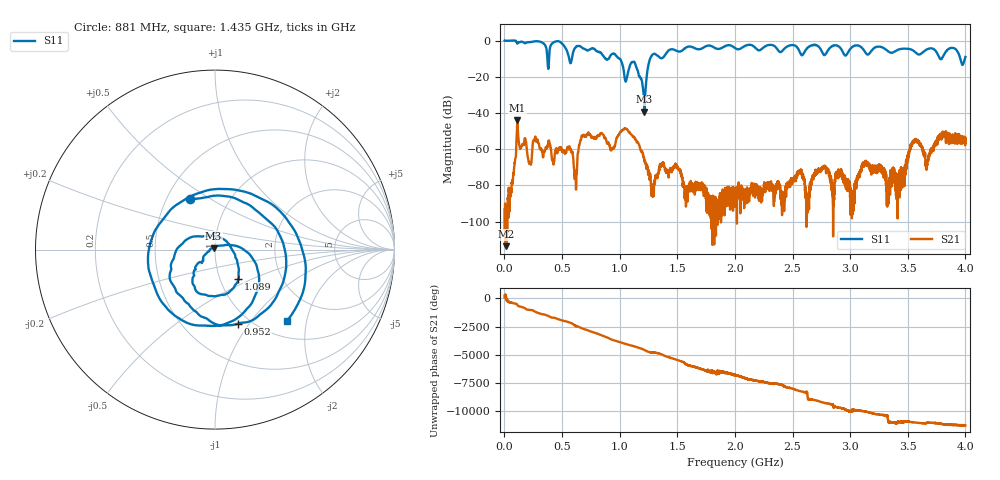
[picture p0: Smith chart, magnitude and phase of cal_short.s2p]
!Created with skrf (http://scikit-rf.org).
# GHz S RI R 50.0
!freq ReS11 ImS11 ReS21 ImS21 ReS12 ImS12 ReS22 ImS22
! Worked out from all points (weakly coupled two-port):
!   4000 points, 1 MHz to 4 GHz, reference 50 ohm
!   highest |S21| = -43.76 dB at 112 MHz (marker M1); lowest = -113.5 dB at 10 MHz (marker M2)
!   lowest |S11| = -39.3 dB at 1.214 GHz (marker M3), VSWR 1.02, Z = 49.2 + j0.736 ohm
!   |S11| at or under -10 dB: 561.6 MHz to 585.6 MHz (23.96 MHz wide, 4.18 % of centre); 1 GHz to 1.264 GHz (263.2 MHz wide, 23.2 % of centre); 3.956 GHz to 3.995 GHz (38.96 MHz wide, 0.98 % of centre) (the widest 3 of 6)
!   S12 and S22 are empty: the file has one direction only
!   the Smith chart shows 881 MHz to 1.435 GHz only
!   S11 on the Smith chart (normalised r, x): 881 MHz: 0.65, +0.41; 952 MHz: 0.87, -0.89; 1.089 GHz: 1.22, -0.41; 1.435 GHz: 1.33, -1.54
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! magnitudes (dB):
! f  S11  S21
! 1 MHz  0.1  -93.2
! 10 MHz  -0.1  -113.5
! 63 MHz  0.1  -78.3
! 112 MHz  -1.6  -43.8
! 218 MHz  -0.8  -68.0
! 267 MHz  -0.3  -53.3
! 561 MHz  -9.7  -58.7
! 614 MHz  -4.0  -72.1
! 668 MHz  -3.6  -52.9
! 881 MHz  -10.1  -54.6
! 952 MHz  -7.3  -58.8
! 1.089 GHz  -13.6  -51.1
! 1.214 GHz  -39.3  -66.6
! 1.334 GHz  -8.5  -73.8
! 1.435 GHz  -5.0  -72.6
! 2.001 GHz  -4.0  -86.7
! 2.667 GHz  -2.6  -76.7
! 3.139 GHz  -7.1  -67.7
! 3.334 GHz  -6.1  -85.8
! 3.555 GHz  -5.8  -55.1
! 3.662 GHz  -5.0  -71.4
! 4 GHz  -9.0  -56.4
